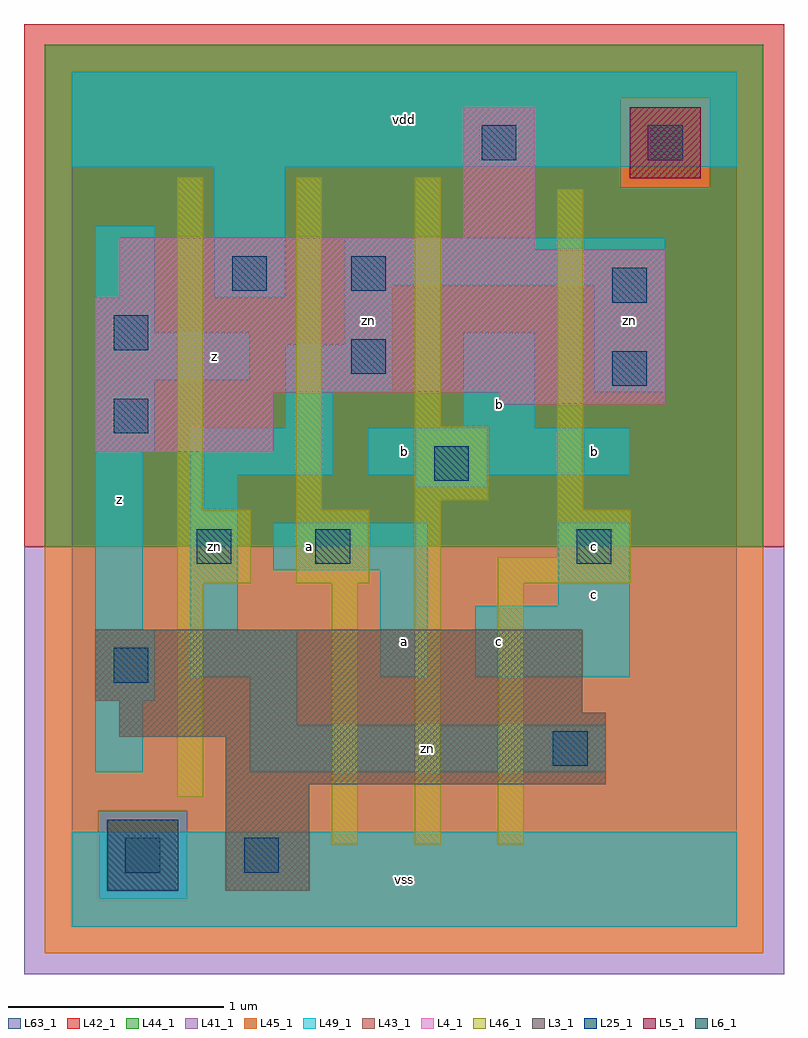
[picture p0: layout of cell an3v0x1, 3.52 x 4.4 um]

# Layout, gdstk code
import gdstk
lib = gdstk.Library(unit=1e-6, precision=1e-09)
def R(c, l, rs):  # rectangles x0, y0, x1, y1
    for r in rs: c.add(gdstk.rectangle(r[:2], r[2:], *l))
L3_1 = (3, 1)
L4_1 = (4, 1)
L5_1 = (5, 1)
L6_1 = (6, 1)
L25_1 = (25, 1)
L41_1 = (41, 1)
L42_1 = (42, 1)
L43_1 = (43, 1)
L44_1 = (44, 1)
L45_1 = (45, 1)
L46_1 = (46, 1)
L49_1 = (49, 1)
L63_1 = (63, 1)

an3v0x1 = lib.new_cell('an3v0x1')
R(an3v0x1, L3_1, [(0.715,0.165,1.1,0.66), (0.715,0.66,2.475,0.88), (0.22,0.88,2.475,0.99), (0.22,0.99,2.365,1.045), (0.11,1.045,2.365,1.375)])
R(an3v0x1, L4_1, [(0.11,2.2,0.935,2.475), (1.98,2.42,2.75,2.475), (0.11,2.475,2.75,2.915), (0.22,2.915,2.75,3.135), (0.22,3.135,2.145,3.19), (1.815,3.19,2.145,3.795)])
R(an3v0x1, L5_1, [(2.585,3.465,2.915,3.795)])
R(an3v0x1, L6_1, [(0.165,0.165,0.495,0.495)])
R(an3v0x1, L25_1, [(0.25,0.25,0.41,0.41), (0.8,0.25,0.96,0.41), (2.23,0.745,2.39,0.905), (0.195,1.13,0.355,1.29), (0.58,1.68,0.74,1.84), (1.13,1.68,1.29,1.84), (2.34,1.68,2.5,1.84), (1.68,2.065,1.84,2.225), (0.195,2.285,0.355,2.445), (2.505,2.505,2.665,2.665), (1.295,2.56,1.455,2.72), (0.195,2.67,0.355,2.83), (2.505,2.89,2.665,3.05), (0.745,2.945,0.905,3.105), (1.295,2.945,1.455,3.105), (1.9,3.55,2.06,3.71), (2.67,3.55,2.83,3.71)])
R(an3v0x1, L41_1, [(-0.22,-0.22,3.3,1.76)])
R(an3v0x1, L42_1, [(-0.22,1.76,3.3,4.18)])
R(an3v0x1, L43_1, [(0.165,0.165,0.495,0.495), (0.715,0.165,1.1,0.66), (0.715,0.66,2.475,0.88), (0.22,0.88,2.475,0.99), (0.22,0.99,2.365,1.045), (0.11,1.045,2.365,1.375), (0.11,2.2,0.935,2.475), (1.98,2.42,2.75,2.475), (0.11,2.475,2.75,2.915), (0.22,2.915,2.75,3.135), (0.22,3.135,2.145,3.19), (1.815,3.19,2.145,3.795), (2.585,3.465,2.915,3.795)])
R(an3v0x1, L44_1, [(0.125,0.125,0.535,0.535), (-0.125,1.76,3.205,3.425), (-0.125,3.425,2.545,3.835), (2.955,3.425,3.205,3.835), (-0.125,3.835,3.205,4.085)])
R(an3v0x1, L45_1, [(-0.125,-0.125,3.205,0.125), (-0.125,0.125,0.125,0.535), (0.535,0.125,3.205,0.535), (-0.125,0.535,3.205,1.76), (2.545,3.425,2.955,3.835)])
R(an3v0x1, L46_1, [(1.205,0.38,1.325,1.59), (1.59,0.38,1.71,1.975), (1.975,0.38,2.095,1.59), (0.49,0.6,0.61,1.59), (0.49,1.59,0.83,1.93), (1.04,1.59,1.38,1.93), (1.975,1.59,2.59,1.71), (2.25,1.71,2.59,1.93), (0.49,1.93,0.61,3.47), (1.04,1.93,1.16,3.47), (2.25,1.93,2.37,3.415), (1.59,1.975,1.93,2.315), (1.59,2.315,1.71,3.47)])
R(an3v0x1, L49_1, [(0,0,3.08,0.44), (0.11,0.715,0.33,1.045), (0.825,0.715,2.475,0.935), (0.825,0.935,1.045,1.155), (0.11,1.045,0.385,1.375), (0.55,1.155,1.045,1.375), (1.43,1.155,1.65,1.65), (1.87,1.155,2.585,1.485), (0.11,1.375,0.33,2.2), (0.55,1.375,0.77,2.09), (2.255,1.485,2.585,1.87), (0.935,1.65,1.65,1.87), (1.595,2.035,1.925,2.09), (0.55,2.09,1.21,2.31), (1.375,2.09,2.585,2.31), (0.11,2.2,0.385,2.53), (0.99,2.31,1.21,2.475), (1.815,2.31,2.145,2.75), (0.99,2.475,1.485,2.695), (2.42,2.475,2.75,2.97), (0.11,2.53,0.825,2.75), (1.265,2.695,1.485,2.97), (0.11,2.75,0.385,3.245), (0.66,2.915,0.99,3.52), (1.265,2.97,2.75,3.19), (0,3.52,3.08,3.96)])
R(an3v0x1, L63_1, [(0,0,3.08,3.96)])
an3v0x1.add(gdstk.Label('zn', (0.66,1.76), layer=49, texttype=1))
an3v0x1.add(gdstk.Label('z', (0.22,1.98), layer=49, texttype=1))
an3v0x1.add(gdstk.Label('a', (1.1,1.76), layer=49, texttype=1))
an3v0x1.add(gdstk.Label('zn', (0.66,1.705), layer=49, texttype=1))
an3v0x1.add(gdstk.Label('z', (0.66,2.64), layer=49, texttype=1))
an3v0x1.add(gdstk.Label('zn', (1.375,2.805), layer=49, texttype=1))
an3v0x1.add(gdstk.Label('vss', (1.54,0.22), layer=49, texttype=1))
an3v0x1.add(gdstk.Label('a', (1.54,1.32), layer=49, texttype=1))
an3v0x1.add(gdstk.Label('c', (1.98,1.32), layer=49, texttype=1))
an3v0x1.add(gdstk.Label('b', (1.54,2.2), layer=49, texttype=1))
an3v0x1.add(gdstk.Label('b', (1.98,2.42), layer=49, texttype=1))
an3v0x1.add(gdstk.Label('vdd', (1.54,3.74), layer=49, texttype=1))
an3v0x1.add(gdstk.Label('zn', (1.65,0.825), layer=49, texttype=1))
an3v0x1.add(gdstk.Label('c', (2.42,1.54), layer=49, texttype=1))
an3v0x1.add(gdstk.Label('c', (2.42,1.76), layer=49, texttype=1))
an3v0x1.add(gdstk.Label('b', (2.42,2.2), layer=49, texttype=1))
an3v0x1.add(gdstk.Label('zn', (2.585,2.805), layer=49, texttype=1))

lib.write_gds('an3v0x1.gds')
